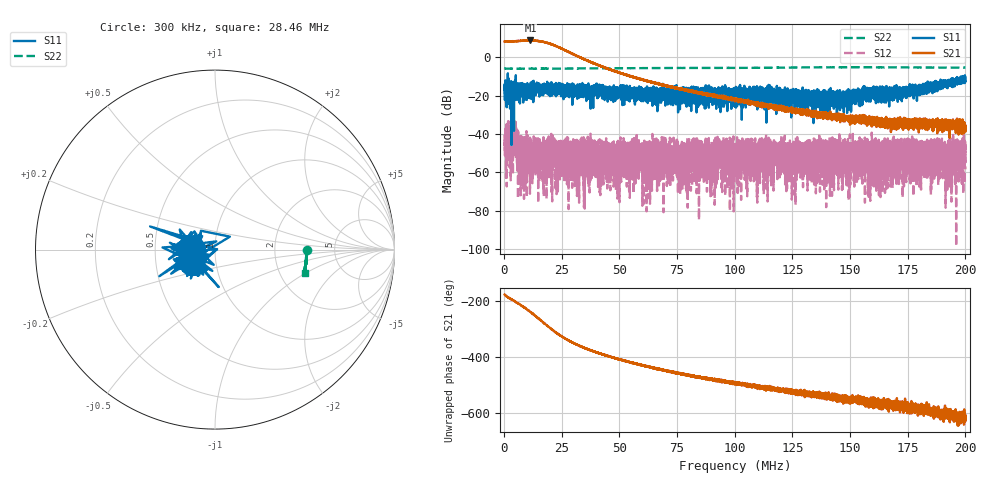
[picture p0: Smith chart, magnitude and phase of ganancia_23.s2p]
# Hz S DB R 50
! CMT, M5065, 19127446, 24.2.4/2
! Date: 11/8/2024 3:58:39 PM
! Data: Format (Calibration Info)
! Freq	S11:dB/Ang(F2)	S21:dB/Ang(F2)	S12:dB/Ang(F2)	S22:dB/Ang(F2)
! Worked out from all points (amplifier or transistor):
!   9000 points, 300 kHz to 200 MHz, reference 50 ohm
!   highest |S21| = 8.9 dB at 11.48 MHz (marker M1)
!   |S21| within 3 dB of that: start of sweep to 22.64 MHz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
!   unconditionally stable (mu >= 1): start of sweep to end of sweep
!   at 33.59 MHz: K = 68.91, MAG = 1.2 dB, |S12| = -45.4 dB
!   at 100.2 MHz: K = 1348.81, MAG = -21.0 dB, |S12| = -49.1 dB
!   at 200 MHz: K = 16360.03, MAG = -33.8 dB, |S12| = -58.4 dB
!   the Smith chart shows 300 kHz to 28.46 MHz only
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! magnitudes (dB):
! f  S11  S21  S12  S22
! 300 kHz  -15.6  8.3  -44.8  -5.8
! 4.627 MHz  -14.8  8.6  -46.9  -5.9
! 7.091 MHz  -19.0  8.7  -45.8  -5.8
! 11.48 MHz  -15.4  8.9  -42.6  -5.8
! 20.12 MHz  -14.6  7.1  -46.3  -5.8
! 33.59 MHz  -19.0  -0.3  -45.4  -5.7
! 66.87 MHz  -18.8  -13.8  -56.0  -5.5
! 78.37 MHz  -23.3  -16.9  -47.4  -5.5
! 82.3 MHz  -19.4  -18.1  -51.3  -5.5
! 90 MHz  -21.9  -19.9  -48.3  -5.5
! 92.97 MHz  -17.8  -20.4  -52.3  -5.5
! 100.2 MHz  -23.1  -22.5  -49.1  -5.4
! 133.4 MHz  -22.7  -29.2  -50.6  -5.2
! 155.4 MHz  -18.2  -33.1  -45.0  -5.1
! 163.2 MHz  -18.5  -33.7  -52.6  -5.1
! 166.7 MHz  -19.9  -35.4  -51.7  -5.1
! 171.5 MHz  -21.5  -34.6  -50.7  -5.2
! 178.3 MHz  -18.7  -32.9  -47.0  -5.2
! 180.2 MHz  -18.1  -33.6  -51.8  -5.2
! 195 MHz  -13.3  -35.8  -45.6  -5.3
! 198.5 MHz  -11.0  -37.8  -45.1  -5.3
! 200 MHz  -10.5  -35.7  -58.4  -5.3
